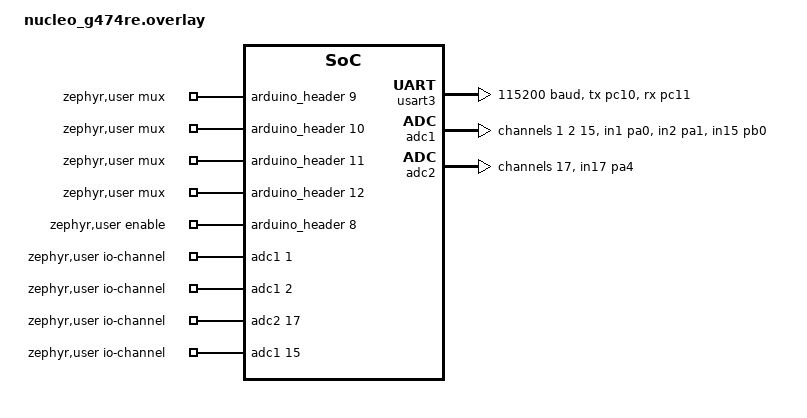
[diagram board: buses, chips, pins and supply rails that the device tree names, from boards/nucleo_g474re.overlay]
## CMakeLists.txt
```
cmake_minimum_required(VERSION 3.20.0)

# Initialize Zephyr
find_package(Zephyr REQUIRED HINTS $ENV{ZEPHYR_BASE})
project(chessboard_zephyr)

# Include sources
target_sources(app PRIVATE src/main.cpp src/Led.cpp src/utils.cpp src/SensorsMatrix.cpp src/UartSender.cpp)

# Optional: Set additional compile options if needed
# e.g., add compile options or flags here if necessary
#target_compile_options(app PRIVATE -g -O0)  # Debugging symbols and no optimization
```

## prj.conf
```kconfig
CONFIG_HEAP_MEM_POOL_SIZE=256
CONFIG_ASSERT=y
CONFIG_GPIO=y
CONFIG_ADC=y

CONFIG_SHELL=y
CONFIG_ADC_SHELL=y
CONFIG_GPIO_SHELL=y

CONFIG_LOG=y
```

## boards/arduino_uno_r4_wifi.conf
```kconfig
CONFIG_WIFI=n
CONFIG_WIFI_ESP_AT=n

CONFIG_TEST_RANDOM_GENERATOR=y

# Networking config
CONFIG_NETWORKING=n
#CONFIG_NET_IPV4=y
#CONFIG_NET_IPV6=n
#CONFIG_NET_TCP=y
#CONFIG_NET_SHELL=y


# Sockets
#CONFIG_NET_SOCKETS=y
#CONFIG_NET_SOCKETS_POLL_MAX=4
#CONFIG_POSIX_API=y

# Network driver config
#CONFIG_TEST_RANDOM_GENERATOR=y

# Network address config
#CONFIG_NET_CONFIG_SETTINGS=y
#CONFIG_NET_CONFIG_NEED_IPV4=y
#CONFIG_NET_CONFIG_NEED_IPV6=y
#CONFIG_NET_CONFIG_MY_IPV4_ADDR="192.168.0.51"
#CONFIG_NET_CONFIG_MY_IPV4_GW="192.168.0.1"
# Address of HTTP IPv4 server
#CONFIG_NET_CONFIG_PEER_IPV4_ADDR="192.0.2.2"
#CONFIG_NET_CONFIG_MY_IPV6_ADDR="2001:db8::1"
# Address of HTTP IPv6 server
#CONFIG_NET_CONFIG_PEER_IPV6_ADDR="2001:db8::2"

# HTTP
#CONFIG_HTTP_CLIENT=y

# Network debug config
#CONFIG_LOG=y
#CONFIG_LOG_MODE_IMMEDIATE=n
#CONFIG_NET_LOG=n
#CONFIG_NET_SOCKETS_LOG_LEVEL_DBG=n
#CONFIG_NET_HTTP_LOG_LEVEL_DBG=n

#CONFIG_MAIN_STACK_SIZE=2048
```

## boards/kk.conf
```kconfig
#CONFIG_CONSOLE=y
#CONFIG_SERIAL=y
#CONFIG_UART_CONSOLE=y
#CONFIG_UART_INTERRUPT_DRIVEN=y

#CONFIG_WIFI=y
#CONFIG_WIFI_ESP_AT=y


# Networking config
#CONFIG_NETWORKING=y
#CONFIG_NET_IPV4=y
#CONFIG_NET_IPV6=n
#CONFIG_NET_TCP=y
#CONFIG_NET_SHELL=y


# Sockets
#CONFIG_NET_SOCKETS=y
#CONFIG_NET_SOCKETS_POLL_MAX=4
#CONFIG_POSIX_API=y

# Network driver config
#CONFIG_TEST_RANDOM_GENERATOR=y

# Network address config
#CONFIG_NET_CONFIG_SETTINGS=y
#CONFIG_NET_CONFIG_NEED_IPV4=y
#CONFIG_NET_CONFIG_NEED_IPV6=y
#CONFIG_NET_CONFIG_MY_IPV4_ADDR="192.168.0.51"
#CONFIG_NET_CONFIG_MY_IPV4_GW="192.168.0.1"
# Address of HTTP IPv4 server
#CONFIG_NET_CONFIG_PEER_IPV4_ADDR="192.0.2.2"
#CONFIG_NET_CONFIG_MY_IPV6_ADDR="2001:db8::1"
# Address of HTTP IPv6 server
#CONFIG_NET_CONFIG_PEER_IPV6_ADDR="2001:db8::2"

# HTTP
#CONFIG_HTTP_CLIENT=y

# Network debug config
#CONFIG_LOG=y
#CONFIG_LOG_MODE_IMMEDIATE=n
#CONFIG_NET_LOG=n
#CONFIG_NET_SOCKETS_LOG_LEVEL_DBG=n
#CONFIG_NET_HTTP_LOG_LEVEL_DBG=n

#CONFIG_MAIN_STACK_SIZE=2048
```

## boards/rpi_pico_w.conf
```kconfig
CONFIG_WIFI=y

CONFIG_TEST_RANDOM_GENERATOR=y

# Networking config
CONFIG_NETWORKING=y
CONFIG_NET_IPV4=y
#CONFIG_NET_IPV6=n
CONFIG_NET_TCP=y
CONFIG_NET_SHELL=y


# Sockets
#CONFIG_NET_SOCKETS=y
#CONFIG_NET_SOCKETS_POLL_MAX=4
#CONFIG_POSIX_API=y

# Network address config
#CONFIG_NET_CONFIG_SETTINGS=y
#CONFIG_NET_CONFIG_NEED_IPV4=y
#CONFIG_NET_CONFIG_NEED_IPV6=y
#CONFIG_NET_CONFIG_MY_IPV4_ADDR="192.168.0.51"
#CONFIG_NET_CONFIG_MY_IPV4_GW="192.168.0.1"
# Address of HTTP IPv4 server
#CONFIG_NET_CONFIG_PEER_IPV4_ADDR="192.0.2.2"
#CONFIG_NET_CONFIG_MY_IPV6_ADDR="2001:db8::1"
# Address of HTTP IPv6 server
#CONFIG_NET_CONFIG_PEER_IPV6_ADDR="2001:db8::2"

# HTTP
CONFIG_HTTP_CLIENT=y

# Network debug config
CONFIG_LOG=y
#CONFIG_LOG_MODE_IMMEDIATE=n
#CONFIG_NET_LOG=n
#CONFIG_NET_SOCKETS_LOG_LEVEL_DBG=n
#CONFIG_NET_HTTP_LOG_LEVEL_DBG=n

#CONFIG_MAIN_STACK_SIZE=2048
```

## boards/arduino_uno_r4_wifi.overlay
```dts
/ {
	chosen {
		zephyr,console = &uart2;
		zephyr,shell-uart = &uart2;
	};
};

&pinctrl {
	sci1_default: sci1_default {
		group1 {
			pinmux = <P502_RXD1>, <P501_TXD1>;
		};
	};

/*
	sci9_default: sci9_default {
		group1 {
			pinmux = <P110_RXD9>, <P109_TXD9>;
		};
	};
*/
};

&sci1 {
	status = "okay";
	pinctrl-0 = <&sci1_default>;
	pinctrl-names = "default";
	uart1: uart {
		current-speed = <115200>;
		status = "okay";

		esp32s3: esp32s3 {
			compatible = "espressif,esp-at";
//			status = "okay";			
		};
	};
};

/*
&sci9 { 
	pinctrl-0 = <&sci9_default>;
	pinctrl-names = "default";
	status = "okay";
	uart9: uart {
		current-speed = <115200>;		
		status = "okay";
	};
};
*/
```

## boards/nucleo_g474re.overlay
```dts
/ {
	chosen {
		zephyr,console = &usart3;
		zephyr,shell-uart = &usart3;
		uart-sender = &usart1;
	};

        zephyr,user {
                /* adjust channel number according to pinmux in board.dts */
                /*               A0-PA0      A1-PA1    A2-PA4         A3-PB0       A4-PC1      A5-PC0*/
                //io-channels = <&adc1 1>, <&adc1 2>, <&adc2 17>,  <&adc1 15>,   <&adc12 7>, <&adc12 6> ;
                io-channels = <&adc1 1>, <&adc1 2>, <&adc2 17>,  <&adc1 15> ;
                //io-channels = <&adc1 1>, <&adc1 2>;
		mux-gpios =  <&arduino_header 9 0>, // D3
		             <&arduino_header 10 0>, // D4
		             <&arduino_header 11 0>, // D5
		             <&arduino_header 12 0>; // D6
		enable-gpios =  <&arduino_header 8 0>; // D2

        };

};

&usart3 {
	pinctrl-0 = <&usart3_tx_pc10 &usart3_rx_pc11>;
	pinctrl-names = "default";
	current-speed = <115200>;
	status = "okay";
};

&adc1 {
    pinctrl-0 = <&adc1_in1_pa0 &adc1_in2_pa1 &adc1_in15_pb0>;  // add whatever inputs you need
    pinctrl-names = "default";
    st,adc-clock-source = "SYNC";
    st,adc-prescaler = <4>;

    vref-mv = <3300>;
    status = "okay";

     #address-cells = <1>;
    #size-cells = <0>;

    channel@1 {
        reg = <1>;
        zephyr,gain = "ADC_GAIN_1";
        zephyr,reference = "ADC_REF_INTERNAL";
        zephyr,acquisition-time = <ADC_ACQ_TIME_DEFAULT>;
        zephyr,resolution = <12>;
    };

    channel@2 {
        reg = <2>;
        zephyr,gain = "ADC_GAIN_1";
        zephyr,reference = "ADC_REF_INTERNAL";
        zephyr,acquisition-time = <ADC_ACQ_TIME_DEFAULT>;
        zephyr,resolution = <12>;
    };

    channel@15 {
        reg = <15>;
        zephyr,gain = "ADC_GAIN_1";
        zephyr,reference = "ADC_REF_INTERNAL";
        zephyr,acquisition-time = <ADC_ACQ_TIME_DEFAULT>;
        zephyr,resolution = <12>;
    };

};



&adc2 {
    //pinctrl-0 = <&adc2_in6_pc1 &adc2_in7_pc0 &adc2_in17_pa4>;  // add whatever inputs you need
    pinctrl-0 = <&adc2_in17_pa4>;  // add whatever inputs you need
    pinctrl-names = "default";
    st,adc-clock-source = "SYNC";
    st,adc-prescaler = <4>;

    vref-mv = <3300>;
    status = "okay";

    #address-cells = <1>;
    #size-cells = <0>;
 
    channel@17 {
        reg = <17>;
        zephyr,gain = "ADC_GAIN_1";
        zephyr,reference = "ADC_REF_INTERNAL";
        zephyr,acquisition-time = <ADC_ACQ_TIME_DEFAULT>;
        zephyr,resolution = <12>;
    };

};
```

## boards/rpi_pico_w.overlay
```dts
/ {
	leds {
		compatible = "gpio-leds";
		led0: led_0 {
			gpios = <&gpio0 2 GPIO_ACTIVE_HIGH>;
			label = "LED";
		};
	};

	aliases {
		led0 = &led0;
	};
};
```

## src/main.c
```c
/*
 * Copyright (c) 2017 Linaro Limited
 *
 * SPDX-License-Identifier: Apache-2.0
 */

#include <zephyr/kernel.h>
#include <zephyr/device.h>
#include <zephyr/drivers/gpio.h>
#include <zephyr/sys/printk.h>
#include <zephyr/sys/__assert.h>
#include <string.h>


#include <zephyr/devicetree.h>
#include <zephyr/drivers/adc.h>
#include <zephyr/sys/util.h>

/* size of stack area used by each thread */
#define STACKSIZE 1024

/* scheduling priority used by each thread */
#define PRIORITY 7

#define LED0_NODE DT_ALIAS(led0)

#if !DT_NODE_HAS_STATUS(LED0_NODE, okay)
#error "Unsupported board: led0 devicetree alias is not defined"
#endif


#if !DT_NODE_EXISTS(DT_PATH(zephyr_user)) || \
	!DT_NODE_HAS_PROP(DT_PATH(zephyr_user), io_channels) || \
	!DT_NODE_HAS_PROP(DT_PATH(zephyr_user), mux_gpios)
#error "Unsupported board: zephyr_user devicetree alias is not defined"
#endif

#define DT_SPEC_AND_COMMA(node_id, prop, idx) \
	ADC_DT_SPEC_GET_BY_IDX(node_id, idx),

/* Data of ADC io-channels specified in devicetree. */
static const struct adc_dt_spec adc_channels[] = {
	DT_FOREACH_PROP_ELEM(DT_PATH(zephyr_user), io_channels,
			     DT_SPEC_AND_COMMA)
};

#define DT_GPIO_SPEC_AND_COMMA(node_id, prop, idx) \
	GPIO_DT_SPEC_GET_BY_IDX(node_id, prop, idx),


static const struct gpio_dt_spec gpios_mux[] = {
	DT_FOREACH_PROP_ELEM(DT_PATH(zephyr_user), mux_gpios,
			     DT_GPIO_SPEC_AND_COMMA)
};




struct printk_data_t {
	void *fifo_reserved; /* 1st word reserved for use by fifo */
	uint32_t led;
	uint32_t cnt;
};

K_FIFO_DEFINE(printk_fifo);

struct led {
	struct gpio_dt_spec spec;
	uint8_t num;
};

static const struct led led0 = {
	.spec = GPIO_DT_SPEC_GET_OR(LED0_NODE, gpios, {0}),
	.num = 0,
};

void blink(const struct led *led, uint32_t sleep_ms, uint32_t id)
{
	const struct gpio_dt_spec *spec = &led->spec;
	int cnt = 0;
	int ret;

	if (!device_is_ready(spec->port)) {
		printk("Error: %s device is not ready\n", spec->port->name);
		return;
	}

	ret = gpio_pin_configure_dt(spec, GPIO_OUTPUT);
	if (ret != 0) {
		printk("Error %d: failed to configure pin %d (LED '%d')\n",
			ret, spec->pin, led->num);
		return;
	}

	while (1) {
		gpio_pin_set(spec->port, spec->pin, cnt % 2);

		struct printk_data_t tx_data = { .led = id, .cnt = cnt };

		size_t size = sizeof(struct printk_data_t);
		char *mem_ptr = k_malloc(size);
		__ASSERT_NO_MSG(mem_ptr != 0);

		memcpy(mem_ptr, &tx_data, size);

		k_fifo_put(&printk_fifo, mem_ptr);

		k_msleep(sleep_ms);
		cnt++;
	}
}

void blink0(void)
{
	blink(&led0, 1000, 0);
}

void uart_out(void)
{
	while (1) {
		struct printk_data_t *rx_data = k_fifo_get(&printk_fifo,
							   K_FOREVER);
		printk("Toggled led%d; counter=%d\n",
  		rx_data->led, rx_data->cnt);
		k_free(rx_data);
	}
}

K_THREAD_DEFINE(blink0_id, STACKSIZE, blink0, NULL, NULL, NULL,
		PRIORITY, 0, 0);
K_THREAD_DEFINE(uart_out_id, STACKSIZE, uart_out, NULL, NULL, NULL,
		PRIORITY, 0, 0);







int main(void)
{
	int ret;
	int err;
	uint32_t count = 0;
	uint16_t buf;
	struct adc_sequence sequence = {
		.buffer = &buf,
		/* buffer size in bytes, not number of samples */
		.buffer_size = sizeof(buf),
	};

	/* Configure channels individually prior to sampling. */
	for (size_t i = 0U; i < ARRAY_SIZE(adc_channels); i++) {
		if (!adc_is_ready_dt(&adc_channels[i])) {
			printk("ADC controller device %s not ready\n", adc_channels[i].dev->name);
			return 0;
		}

		err = adc_channel_setup_dt(&adc_channels[i]);
		if (err < 0) {
			printk("Could not setup channel #%d (%d)\n", i, err);
			return 0;
		}
	}

	/* Configure mux gpios */
	int muxsValue = 0;
	for (size_t nmux = 0U; nmux < ARRAY_SIZE(gpios_mux); nmux++)
	{
		const struct gpio_dt_spec *spec = &gpios_mux[nmux];
		if (!device_is_ready(spec->port)) {
			printk("Error: %s device is not ready\n", spec->port->name);
			return 0;
		}

		ret = gpio_pin_configure_dt(spec, GPIO_OUTPUT);
		if (ret != 0) {
			printk("Error %d: failed to configure gpioMux %d')\n",
				ret, nmux);
			return 0;
		}


		gpio_pin_set(spec->port, spec->pin, muxsValue);
	}
	printk("Initialized muxs to: %d\n", muxsValue);




#ifndef CONFIG_COVERAGE
	while (1) {
#else
	for (int k = 0; k < 10; k++) {
#endif
		printk("ADC reading[%u]:\n", count++);
		for (size_t i = 0U; i < ARRAY_SIZE(adc_channels); i++) {
			int32_t val_mv;

			printk("- %s, channel %d: ",
			       adc_channels[i].dev->name,
			       adc_channels[i].channel_id);

			(void)adc_sequence_init_dt(&adc_channels[i], &sequence);

			err = adc_read_dt(&adc_channels[i], &sequence);
			if (err < 0) {
				printk("Could not read (%d)\n", err);
				continue;
			}

			/*
			 * If using differential mode, the 16 bit value
			 * in the ADC sample buffer should be a signed 2's
			 * complement value.
			 */
			if (adc_channels[i].channel_cfg.differential) {
				val_mv = (int32_t)((int16_t)buf);
			} else {
				val_mv = (int32_t)buf;
			}
			printk("%"PRId32, val_mv);
			err = adc_raw_to_millivolts_dt(&adc_channels[i],
						       &val_mv);
			/* conversion to mV may not be supported, skip if not */
			if (err < 0) {
				printk(" (value in mV not available)\n");
			} else {
				printk(" = %"PRId32" mV\n", val_mv);
			}
		}

		muxsValue = muxsValue==0? 1:0;
		for (size_t nmux = 0U; nmux < ARRAY_SIZE(gpios_mux); nmux++)
		{
			const struct gpio_dt_spec *spec = &gpios_mux[nmux];
			gpio_pin_set(spec->port, spec->pin, muxsValue);

		}
		printk("Setting all muxs to: %d\n", muxsValue);


		k_sleep(K_MSEC(20000));
	}
	return 0;
}
```

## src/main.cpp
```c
/*
 * Copyright (c) 2017 Linaro Limited
 *
 * SPDX-License-Identifier: Apache-2.0
 */


#include <zephyr/kernel.h>
#include <zephyr/device.h>
#include <zephyr/drivers/gpio.h>
#include <zephyr/sys/printk.h>
#include <zephyr/sys/__assert.h>
#include <string.h>


#include <zephyr/devicetree.h>
#include <zephyr/drivers/adc.h>
#include <zephyr/sys/util.h>


#include "Led.hpp"
#include "SensorsMatrix.h"
#include "UartSender.h"

/* size of stack area used by each thread */
#define STACKSIZE 1024

/* scheduling priority used by each thread */
#define PRIORITY 7

#define LED0_NODE DT_ALIAS(led0)

#if !DT_NODE_HAS_STATUS(LED0_NODE, okay)
#error "Unsupported board: led0 devicetree alias is not defined"
#endif



void alive(void)
{
	Led aLed( GPIO_DT_SPEC_GET_OR(LED0_NODE, gpios, {0}) );

	if ( aLed.initialize() != 0 ) {
		return;
	}

	while (1) {
		aLed.toogle();

		k_msleep(1000);
	}
}

K_THREAD_DEFINE(alive_id, STACKSIZE, alive, NULL, NULL, NULL, PRIORITY, 0, 0);

void matrix(void)
{
	SensorsMatrix sm;
	UartSender sender;

	if (!sender.initialize()) {
		printk("ERROR INITIALIZING");
		return;
	}

	if (sm.initialize() != 0) {
		printk("Error: Could not initialize sensors matrix\n");
		return;
	}

	int iteration = 0;
	while (1)
	{

		if (sm.refresh()) {

			uint8_t aMatrix[8][8];
			uint8_t packed_board[8];    // Each byte = 1 row
			char uart_msg[64];          // UART message buffer
			sm.getPosition(aMatrix);



			// Step 1: Pack each row into a byte
			for (int row = 0; row < 8; ++row) {
				uint8_t bits = 0;

				for (int col = 0; col < 8; ++col) {
					if (aMatrix[row][col]) {
					bits |= (1 << (7 - col));  // col 0 is MSB
					}
				}

				packed_board[row] = bits;
			}

			// Step 2: Format UART message as one hex string
			int len = snprintf(uart_msg, sizeof(uart_msg),
				"BOARD:%02X-%02X-%02X-%02X-%02X-%02X-%02X-%02X\r\n",
				packed_board[0], packed_board[1],
				packed_board[2], packed_board[3],
				packed_board[4], packed_board[5],
				packed_board[6], packed_board[7]);

			// Step 3: Send over UART (use printk or uart_tx)
			printk("Sent: %s", uart_msg);
			sender.send(uart_msg);

		} else {
			//printk("No changes\n");
		}

		k_msleep(110);
		iteration++;
	}
}

K_THREAD_DEFINE(matrix_reader_id, STACKSIZE, matrix, NULL, NULL, NULL, PRIORITY, 0, 0);

#if 0
//TODO. two different threads
void uart_sender(void) {
	UartSender sender;

	if (!sender.initialize()) {
		printk("ERROR INITIALIZING");
		return;
	}

	sender.send("bieeen!!");

	return;
}

K_THREAD_DEFINE(uart_sender_id, STACKSIZE, uart_sender, NULL, NULL, NULL, PRIORITY, 0, 0);
#endif

int main(void)
{



#if 0
	while (1)
	{
		sm.test();
		k_msleep(110);
	}
#endif



//	printk ("ENDING\n");

	return 0;
//hola
}
```

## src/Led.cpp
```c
#include <zephyr/kernel.h>
#include <zephyr/device.h>
#include <zephyr/drivers/gpio.h>
#include <zephyr/sys/printk.h>

#include "Led.hpp"

Led::Led(struct gpio_dt_spec aSpec) : spec_(aSpec)
{
}

int Led::initialize()
{
	int ret = -1;

	if (!device_is_ready(spec_.port)) {
		printk("Led::initialize() Error: %s device is not ready\n", spec_.port->name);
		return ret;
	}

	ret = gpio_pin_configure_dt(&spec_, GPIO_OUTPUT);
	if (ret != 0) {
		printk("Led::initialize() Error %d: failed to configure pin %d\n", ret, spec_.pin);
		return ret;
	}

	return 0;
}

int Led::toogle()
{
	cnt++;
	return gpio_pin_set(spec_.port, spec_.pin, cnt % 2);
}
```

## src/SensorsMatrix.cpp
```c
#include "SensorsMatrix.h"
#include "utils.h"

#include <zephyr/logging/log.h>

LOG_MODULE_REGISTER(sensormatrix, LOG_LEVEL_DBG);  // or LOG_LEVEL_DBG

#ifndef CONFIG_DETECTION_HISTERESYS_EMPTY
#define CONFIG_DETECTION_HISTERESYS_EMPTY 10
#endif

#ifndef CONFIG_DETECTION_HISTERESYS_PIECE
#define CONFIG_DETECTION_HISTERESYS_PIECE 30
#endif

#define NROWS 8
#define NFILES 8

#define BUFFER_SIZE 5 // buffer used to filter position changes.

#if !DT_NODE_EXISTS(DT_PATH(zephyr_user)) || \
	!DT_NODE_HAS_PROP(DT_PATH(zephyr_user), io_channels) || \
	!DT_NODE_HAS_PROP(DT_PATH(zephyr_user), mux_gpios) || \
	!DT_NODE_HAS_PROP(DT_PATH(zephyr_user), enable_gpios)
#error "Unsupported board: zephyr_user devicetree alias is not defined"
#endif

#define DT_SPEC_AND_COMMA(node_id, prop, idx) \
	ADC_DT_SPEC_GET_BY_IDX(node_id, idx),

/* Data of ADC io-channels specified in devicetree. */
static const struct adc_dt_spec adc_channels[] = {
	DT_FOREACH_PROP_ELEM(DT_PATH(zephyr_user), io_channels,
			     DT_SPEC_AND_COMMA)
};

#define DT_GPIO_SPEC_AND_COMMA(node_id, prop, idx) \
	GPIO_DT_SPEC_GET_BY_IDX(node_id, prop, idx),


static const struct gpio_dt_spec gpios_mux[] = {
	DT_FOREACH_PROP_ELEM(DT_PATH(zephyr_user), mux_gpios,
			     DT_GPIO_SPEC_AND_COMMA)
};

static const struct gpio_dt_spec enable_gpios[] = {
	DT_FOREACH_PROP_ELEM(DT_PATH(zephyr_user), enable_gpios,
			     DT_GPIO_SPEC_AND_COMMA)
};


int32_t calibrations[NROWS][NFILES] = {0}; // mv. used to find the 0

uint8_t buffer[BUFFER_SIZE][NROWS][NFILES] = {0}; // gauss
uint8_t current = 0;
uint8_t previous = 0;

uint8_t currentPosition[NROWS][NFILES] = {0}; // 0-empty and 1-piece


K_MUTEX_DEFINE(my_mutex);

uint8_t calculateState(uint8_t currentState, float gauss)
{
    // Adding histeresys
    if (currentState == 1)
    {
      return gauss<CONFIG_DETECTION_HISTERESYS_EMPTY? 0:1;
    }
    
    return gauss>CONFIG_DETECTION_HISTERESYS_PIECE? 1:0;
}

int SensorsMatrix::initialize()
{

	LOG_DBG ("SensorsMatrix::initialize() Initializing Sensors Matrix...");
	int ret;
	int err;
	uint32_t count = 0;
	uint16_t buf;
	struct adc_sequence sequence = {
		.buffer = &buf,
		.buffer_size = sizeof(buf), /* buffer size in bytes, not number of samples */
	};

	if (ARRAY_SIZE(adc_channels) != 4)
	{
		LOG_ERR("Error: Expected 4 elements in adc_channels");
		return -1;
	}

	if (ARRAY_SIZE(gpios_mux) != 4)
	{
		LOG_ERR("Error: Expected 4 elements in gpios_mux");
		return -1;
	}

	if (ARRAY_SIZE(enable_gpios) != 1)
	{
		LOG_ERR("Error: Expected 1 elements in enable_gpios");
		return -1;
	}


	/* Configure channels individually prior to sampling. */
	for (size_t i = 0U; i < 4; i++) {
		if (!adc_is_ready_dt(&adc_channels[i])) {
			LOG_ERR("SensorsMatrix::initialize() ADC controller device %s not ready", adc_channels[i].dev->name);
			return -1;
		}

		err = adc_channel_setup_dt(&adc_channels[i]);
		if (err < 0) {
			LOG_ERR("SensorsMatrix::initialize() Could not setup channel #%d (%d)", i, err);
			return -1;
		}

		LOG_DBG("Configuted ADC CHANNEL %d", adc_channels[i].channel_id);
	}

	/* Configure mux gpios */
	for (size_t nmux = 0U; nmux < 4; nmux++)
	{
		const struct gpio_dt_spec *spec = &gpios_mux[nmux];
		if (!device_is_ready(spec->port)) {
			LOG_ERR("SensorsMatrix::initialize() Error: %s device is not ready", spec->port->name);
			return -1;
		}

		ret = gpio_pin_configure_dt(spec, GPIO_OUTPUT);
		if (ret != 0) {
			LOG_ERR("SensorsMatrix::initialize() Error: failed to configure %s", spec->port->name);
			return -1;
		}

		LOG_DBG("Configuted port %s pin %d as GPIO_OUTPUT", spec->port->name, spec->pin);

		gpio_pin_set(spec->port, spec->pin, 0);
	}


	if (!device_is_ready(enable_gpios->port)) {
		LOG_ERR("SensorsMatrix::initialize() Error: %s device is not ready", enable_gpios->port->name);
		return -1;
	}

	ret = gpio_pin_configure_dt(enable_gpios, GPIO_OUTPUT);
	if (ret != 0) {
		LOG_ERR("SensorsMatrix::initialize() Error: failed to configure %s", enable_gpios->port->name);
		return -1;
	}

	gpio_pin_set(enable_gpios->port, enable_gpios->pin, 0); // 0 to enable
								//
	LOG_INF ("SensorsMatrix::initialize() Initialized Sensors Matrix...OK");
	LOG_INF ("Waitting 5s");

	k_msleep(5000);


	LOG_INF("SensorsMatrix::initialize() Calculating calibrations...");
	for (int i = 0; i < 16; i++) {
		select(i);

		const int row0 = i/NROWS;
		const int iRow[4] = {row0, row0+2, row0+4, row0+6 };
		const int file = i%NFILES;

		for (int r=0; r<4; r++) {
			const int theRow = iRow[r];

			// Filtering calibrations

			int32_t mv[5];
			for (int s = 0; s<5; s++) {
				mv[s] = readMv(&adc_channels[r]);
				k_msleep(1);
			}
			calibrations[theRow][file] = torben_median_filter(mv, 5);
		}
	}

	LOG_INF ("SensorsMatrix::initialize() Calculated calibrations...OK");

    return 0;
}

void SensorsMatrix::getPosition(uint8_t aMatrix[8][8])
{
	if (k_mutex_lock(&my_mutex, K_FOREVER) == 0) {
		memcpy (aMatrix, currentPosition, 64);
	        k_mutex_unlock(&my_mutex);
	} else {
		LOG_ERR("SensorMatrix::getPosition() Cannot take mutex");
	}

}

void SensorsMatrix::readGauss(uint8_t aMatrix[8][8])
{
  for (int i = 0; i < 16; i++) {
    select(i);

    const int row0 = i/NROWS;
    const int iRow[4] = {row0, row0+2, row0+4, row0+6 };
    const int file = i%NFILES;

    for (int r=0; r<4; r++)
    {
      const int theRow = iRow[r];

      const float gauss = millivoltsToGauss (readMv(&adc_channels[r]), calibrations[theRow][file]);
      aMatrix[theRow][file] = (uint8_t)gauss; //calculateState (aMatrix[theRow][file], gauss);
    }
  }
}

bool SensorsMatrix::refresh()
{



    bool changed = false;

    previous = current;
    current++;

    if (current >= BUFFER_SIZE)
    {
        current = 0;
    }

    readGauss(buffer[current]);

	if (k_mutex_lock(&my_mutex, K_FOREVER) != 0) {
		LOG_ERR("SensorMatrix::refresh() Cannot take mutex");
		return false;
	}


    for (int i = 0; i<8; i++)
    {
      for (int j=0; j<8; j++)
      {
        bool allGreaterThanHighLimit = true;
        bool allLowerThanLowLimit = true;
        for (int k = 0; k < BUFFER_SIZE; k++)
        {
          if (buffer[k][i][j] < 45 ) allGreaterThanHighLimit = false;
          if (buffer[k][i][j] > 25 ) allLowerThanLowLimit = false;

        }

        if ( currentPosition[i][j] == 1 && allLowerThanLowLimit)
        {
          changed = true;
          currentPosition[i][j] = 0;
        }
        else if ( currentPosition[i][j] == 0 && allGreaterThanHighLimit)
        {
          changed = true;
          currentPosition[i][j] = 1;
        }
      }
    }

	    k_mutex_unlock(&my_mutex);
#if 0
    //if (changed) {
    	printk ("Printing gauss matrixes\n");

    	for (int i = 0; i < 8; i++) {
       	    for (int k = 0; k < BUFFER_SIZE; k++) {
		    for (int j = 0; j < 8; j++) {
			printk("%6d", buffer[k][i][j]);  // Matrixs with gauss to filter position 
		    }
		    printk(" | ");
	    }
	    printk("\n");
    	}
    //}
#endif

    return changed;
}


void SensorsMatrix::select(uint8_t number) {
  if (number > 15) {
    number = 15;
  }
  
  gpio_pin_set(gpios_mux[0].port, gpios_mux[0].pin, (number & 0b0001)); // Set bit 0
  gpio_pin_set(gpios_mux[1].port, gpios_mux[1].pin, (number & 0b0010)); // Set bit 1
  gpio_pin_set(gpios_mux[2].port, gpios_mux[2].pin, (number & 0b0100)); // Set bit 2
  gpio_pin_set(gpios_mux[3].port, gpios_mux[3].pin, (number & 0b1000)); // Set bit 3

  k_usleep(1);
}

void SensorsMatrix::printCalibrations()
{
	printk("Calibrations:\n");
	for (int row = 0; row < 8; ++row) {
		for (int col = 0; col < 8; ++col) {
			printk("%3d ", calibrations[row][col]);  // 3-digit width for alignment
		}
		printk("\n");
	}
	printk("\n");
}

static int32_t max[4] = {0}, min[4] = {0};
static bool isFirstTime = true;

void SensorsMatrix::test()
{


	//select(0);

	int32_t mv[4];
	for (int r=0; r<4; r++)
	{
		mv[r] = readMv(&adc_channels[r]);
		if (mv[r] < min[r]) min[r] = mv[r];
		if (mv[r] > max[r]) max[r] = mv[r];

		if (isFirstTime)
		{

			min[r] = max[r] = mv[r];
		}
	}

	isFirstTime = false;



	printk ("raw mv read: %4d [%4d   %4d].    %4d [%4d   %4d].     %4d [%4d   %4d].     %4d [%4d   %4d].\n", mv[0], min[0], max[0], mv[1], min[1], max[1], mv[2], min[2], max[2], mv[3], min[3], max[3]);
}
```

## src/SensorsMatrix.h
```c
#ifndef __SENSORS_MATRIX_H__
#define __SENSORS_MATRIX_H__

#include <zephyr/kernel.h>
#include <zephyr/device.h>
#include <zephyr/drivers/gpio.h>
#include <zephyr/sys/printk.h>
#include <zephyr/sys/__assert.h>
#include <string.h>


#include <zephyr/devicetree.h>
#include <zephyr/drivers/adc.h>
#include <zephyr/sys/util.h>

class SensorsMatrix
{
    public:

    explicit SensorsMatrix() {}

    int initialize();

    void getPosition(uint8_t aMatrix[8][8]);

    bool refresh();

    void printCalibrations();

    void test();

    protected:

    void select(uint8_t sensor);

    void readGauss(uint8_t aMatrix[8][8]);

    private:

};

#endif /* __SENSORS_MATRIX_H__ */
```

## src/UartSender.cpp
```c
#include <zephyr/kernel.h>
#include <zephyr/device.h>
#include <zephyr/drivers/uart.h>
#include <stdio.h>
#include <string.h>

#include "UartSender.h"

#include <zephyr/logging/log.h>

LOG_MODULE_REGISTER(uartsender, LOG_LEVEL_DBG);  // or LOG_LEVEL_DBG

const struct device *uart_dev = DEVICE_DT_GET(DT_CHOSEN(uart_sender));

bool UartSender::initialize() {

	if (!device_is_ready(uart_dev)) {
		LOG_ERR("uart device for uartsender is not ready\n");
		return false;
	}

	LOG_INF("uart sender initialized..OK\n");
	return true;
}

void UartSender::send(const char *msg) {
    for (size_t i = 0; i < strlen(msg); i++) {
        uart_poll_out(uart_dev, msg[i]);
    }
}
```

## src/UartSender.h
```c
#ifndef __UART_SENDER_H__
#define __UART_SENDER_H__

#include <zephyr/kernel.h>
#include <zephyr/device.h>
#include <zephyr/drivers/gpio.h>
#include <zephyr/sys/printk.h>
#include <zephyr/sys/__assert.h>
#include <string.h>


#include <zephyr/devicetree.h>
#include <zephyr/drivers/adc.h>
#include <zephyr/sys/util.h>

class UartSender
{
    public:

    explicit UartSender() {}

    bool initialize();

    void send(const char*);

    protected:

    private:

};

#endif /* __SENSORS_MATRIX_H__ */
```

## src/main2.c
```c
/*
 * Copyright (c) 2017 Linaro Limited
 *
 * SPDX-License-Identifier: Apache-2.0
 */

#include <zephyr/kernel.h>
#include <zephyr/device.h>
#include <zephyr/drivers/gpio.h>
#include <zephyr/sys/printk.h>
#include <zephyr/sys/__assert.h>
#include <string.h>


#include <zephyr/devicetree.h>
#include <zephyr/drivers/adc.h>
#include <zephyr/sys/util.h>

/* size of stack area used by each thread */
#define STACKSIZE 1024

/* scheduling priority used by each thread */
#define PRIORITY 7

#define LED0_NODE DT_ALIAS(led0)

#if !DT_NODE_HAS_STATUS(LED0_NODE, okay)
#error "Unsupported board: led0 devicetree alias is not defined"
#endif


#if !DT_NODE_EXISTS(DT_PATH(zephyr_user)) || \
	!DT_NODE_HAS_PROP(DT_PATH(zephyr_user), io_channels) || \
	!DT_NODE_HAS_PROP(DT_PATH(zephyr_user), mux_gpios)
#error "Unsupported board: zephyr_user devicetree alias is not defined"
#endif

#define DT_SPEC_AND_COMMA(node_id, prop, idx) \
	ADC_DT_SPEC_GET_BY_IDX(node_id, idx),

/* Data of ADC io-channels specified in devicetree. */
static const struct adc_dt_spec adc_channels[] = {
	DT_FOREACH_PROP_ELEM(DT_PATH(zephyr_user), io_channels,
			     DT_SPEC_AND_COMMA)
};

#define DT_GPIO_SPEC_AND_COMMA(node_id, prop, idx) \
	GPIO_DT_SPEC_GET_BY_IDX(node_id, prop, idx),


static const struct gpio_dt_spec gpios_mux[] = {
	DT_FOREACH_PROP_ELEM(DT_PATH(zephyr_user), mux_gpios,
			     DT_GPIO_SPEC_AND_COMMA)
};




struct printk_data_t {
	void *fifo_reserved; /* 1st word reserved for use by fifo */
	uint32_t led;
	uint32_t cnt;
};

K_FIFO_DEFINE(printk_fifo);

struct led {
	struct gpio_dt_spec spec;
	uint8_t num;
};

static const struct led led0 = {
	.spec = GPIO_DT_SPEC_GET_OR(LED0_NODE, gpios, {0}),
	.num = 0,
};

void blink(const struct led *led, uint32_t sleep_ms, uint32_t id)
{
	const struct gpio_dt_spec *spec = &led->spec;
	int cnt = 0;
	int ret;

	if (!device_is_ready(spec->port)) {
		printk("Error: %s device is not ready\n", spec->port->name);
		return;
	}

	ret = gpio_pin_configure_dt(spec, GPIO_OUTPUT);
	if (ret != 0) {
		printk("Error %d: failed to configure pin %d (LED '%d')\n",
			ret, spec->pin, led->num);
		return;
	}

	while (1) {
		gpio_pin_set(spec->port, spec->pin, cnt % 2);

		struct printk_data_t tx_data = { .led = id, .cnt = cnt };

		size_t size = sizeof(struct printk_data_t);
		char *mem_ptr = k_malloc(size);
		__ASSERT_NO_MSG(mem_ptr != 0);

		memcpy(mem_ptr, &tx_data, size);

		k_fifo_put(&printk_fifo, mem_ptr);

		k_msleep(sleep_ms);
		cnt++;
	}
}

void blink0(void)
{
	blink(&led0, 1000, 0);
}

void uart_out(void)
{
	while (1) {
		struct printk_data_t *rx_data = k_fifo_get(&printk_fifo,
							   K_FOREVER);
		printk("Toggled led%d; counter=%d\n",
  		rx_data->led, rx_data->cnt);
		k_free(rx_data);
	}
}

K_THREAD_DEFINE(blink0_id, STACKSIZE, blink0, NULL, NULL, NULL,
		PRIORITY, 0, 0);
K_THREAD_DEFINE(uart_out_id, STACKSIZE, uart_out, NULL, NULL, NULL,
		PRIORITY, 0, 0);







int main(void)
{
	int ret;
	int err;
	uint32_t count = 0;
	uint16_t buf;
	struct adc_sequence sequence = {
		.buffer = &buf,
		/* buffer size in bytes, not number of samples */
		.buffer_size = sizeof(buf),
	};

	/* Configure channels individually prior to sampling. */
	for (size_t i = 0U; i < ARRAY_SIZE(adc_channels); i++) {
		if (!adc_is_ready_dt(&adc_channels[i])) {
			printk("ADC controller device %s not ready\n", adc_channels[i].dev->name);
			return 0;
		}

		err = adc_channel_setup_dt(&adc_channels[i]);
		if (err < 0) {
			printk("Could not setup channel #%d (%d)\n", i, err);
			return 0;
		}
	}

	/* Configure mux gpios */
	int muxsValue = 0;
	for (size_t nmux = 0U; nmux < ARRAY_SIZE(gpios_mux); nmux++)
	{
		const struct gpio_dt_spec *spec = &gpios_mux[nmux];
		if (!device_is_ready(spec->port)) {
			printk("Error: %s device is not ready\n", spec->port->name);
			return 0;
		}

		ret = gpio_pin_configure_dt(spec, GPIO_OUTPUT);
		if (ret != 0) {
			printk("Error %d: failed to configure gpioMux %d')\n",
				ret, nmux);
			return 0;
		}


		gpio_pin_set(spec->port, spec->pin, muxsValue);
	}
	printk("Initialized muxs to: %d\n", muxsValue);




#ifndef CONFIG_COVERAGE
	while (1) {
#else
	for (int k = 0; k < 10; k++) {
#endif
		printk("ADC reading[%u]:\n", count++);
		for (size_t i = 0U; i < ARRAY_SIZE(adc_channels); i++) {
			int32_t val_mv;

			printk("- %s, channel %d: ",
			       adc_channels[i].dev->name,
			       adc_channels[i].channel_id);

			(void)adc_sequence_init_dt(&adc_channels[i], &sequence);

			err = adc_read_dt(&adc_channels[i], &sequence);
			if (err < 0) {
				printk("Could not read (%d)\n", err);
				continue;
			}

			/*
			 * If using differential mode, the 16 bit value
			 * in the ADC sample buffer should be a signed 2's
			 * complement value.
			 */
			if (adc_channels[i].channel_cfg.differential) {
				val_mv = (int32_t)((int16_t)buf);
			} else {
				val_mv = (int32_t)buf;
			}
			printk("%"PRId32, val_mv);
			err = adc_raw_to_millivolts_dt(&adc_channels[i],
						       &val_mv);
			/* conversion to mV may not be supported, skip if not */
			if (err < 0) {
				printk(" (value in mV not available)\n");
			} else {
				printk(" = %"PRId32" mV\n", val_mv);
			}
		}

		muxsValue = muxsValue==0? 1:0;
		for (size_t nmux = 0U; nmux < ARRAY_SIZE(gpios_mux); nmux++)
		{
			const struct gpio_dt_spec *spec = &gpios_mux[nmux];
			gpio_pin_set(spec->port, spec->pin, muxsValue);

		}
		printk("Setting all muxs to: %d\n", muxsValue);


		k_sleep(K_MSEC(5000));
	}
	return 0;
}
```

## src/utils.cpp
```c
#include "utils.h"

#ifndef CONFIG_SAMPLES_FOR_TORBEN
#define CONFIG_SAMPLES_FOR_TORBEN 5
#endif

#ifndef CONFIG_MV_PER_GAUSS
#define CONFIG_MV_PER_GAUSS 2
#endif

int32_t torben_median_filter(int32_t *arr, int size)
{
    int32_t min = arr[0], max = arr[0], guess, maxltguess, mingtguess;
    int i, less, greater, equal;

    // Encuentra el valor mínimo y máximo en el array
    for (i = 1; i < size; i++) {
        if (arr[i] < min) min = arr[i];
        if (arr[i] > max) max = arr[i];
    }

    // Bucle principal que busca la mediana
    while (min < max) {
        guess = (min + max) / 2;
        less = greater = equal = 0;
        maxltguess = min;
        mingtguess = max;

        for (i = 0; i < size; i++) {
            if (arr[i] < guess) {
                less++;
                if (arr[i] > maxltguess) maxltguess = arr[i];
            } else if (arr[i] > guess) {
                greater++;
                if (arr[i] < mingtguess) mingtguess = arr[i];
            } else {
                equal++;
            }
        }

        // Si la cantidad de elementos menores o mayores es suficiente para encontrar la mediana
        if (less <= size / 2 && greater <= size / 2) {
            if (less >= size / 2) return maxltguess;
            if (greater >= size / 2) return mingtguess;
            return guess;
        } else if (less > greater) {
            max = maxltguess;  // Ajusta el límite superior a maxltguess
        } else {
            min = mingtguess;  // Ajusta el límite inferior a mingtguess
        }

        // Si min y max se acercan lo suficiente, devolver min o max
        if (min == max) break;
    }

    // Si el bucle termina, devolvemos min (o max, ya que min == max)
    return min;
}

int32_t internalRead(const struct adc_dt_spec * adc_spec)
{
	int32_t val_mv = -1;
	int err;
	uint16_t buf;

	struct adc_sequence sequence = {
		.buffer = &buf,
		/* buffer size in bytes, not number of samples */
		.buffer_size = sizeof(buf),
	};


	(void)adc_sequence_init_dt(adc_spec, &sequence);

	err = adc_read_dt(adc_spec, &sequence);
	if (err < 0) {
		printk("Could not read (%d)\n", err);
		return -1;
	}

	/*
	 * If using differential mode, the 16 bit value pin
	 * in the ADC sample buffer should be a signed 2's
	 * complement value.
	 */
	if (adc_spec->channel_cfg.differential) {
		val_mv = (int32_t)((int16_t)buf);
	} else {
		val_mv = (int32_t)buf;
	}
	//printk("%"PRId32, val_mv);
	err = adc_raw_to_millivolts_dt(adc_spec,
					   &val_mv);
	/* conversion to mV may not be supported, skip if not */
	if (err < 0) {
		printk(" (value in mV not available)\n");
		return -1;
	}

	return val_mv;
}

int32_t readMv(const struct adc_dt_spec * adc_spec)
{
	int32_t mv[CONFIG_SAMPLES_FOR_TORBEN];

	for (int s = 0; s<CONFIG_SAMPLES_FOR_TORBEN; s++) {
		mv[s] = internalRead(adc_spec);
	}
	return torben_median_filter(mv, CONFIG_SAMPLES_FOR_TORBEN);
}

/*
float readGauss(const struct adc_dt_spec * adc_spec, int32_t aCalibration)
{
    const int32_t mv = readMv(adc_spec);
    const float gauss = millivoltsToGauss(mv, aCalibration);
    return gauss;
}
*/

float millivoltsToGauss(int32_t millivolts, int32_t referenceMillivolts)
{
  float gauss = 1.0 * (millivolts - referenceMillivolts) / CONFIG_MV_PER_GAUSS;
  return gauss<0?-gauss:gauss; // ??
}
```

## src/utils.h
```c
#ifndef __UTILS_H__
#define __UTILS_H__

#include <zephyr/kernel.h>
#include <zephyr/device.h>
#include <zephyr/drivers/gpio.h>
#include <zephyr/sys/printk.h>
#include <zephyr/sys/__assert.h>
#include <string.h>


#include <zephyr/devicetree.h>
#include <zephyr/drivers/adc.h>
#include <zephyr/sys/util.h>

int32_t torben_median_filter(int32_t *arr, int size);

int32_t readMv(const struct adc_dt_spec * adc_spec);

//float readGauss(const struct adc_dt_spec * adc_spec, int32_t aCalibration);

float millivoltsToGauss(int32_t millivolts, int32_t referenceMillivolts);

#endif /*__UTILS_H__*/
```
